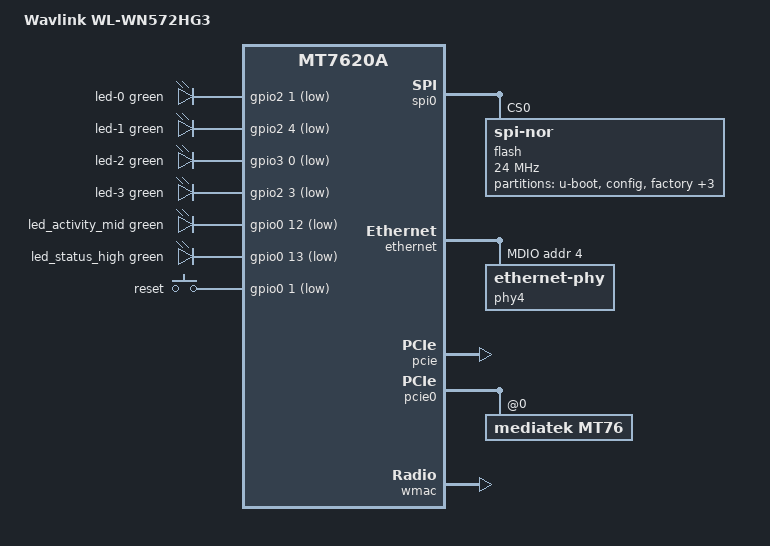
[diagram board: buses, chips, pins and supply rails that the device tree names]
// SPDX-License-Identifier: GPL-2.0-or-later

#include "mt7620a.dtsi"

#include <dt-bindings/gpio/gpio.h>
#include <dt-bindings/input/input.h>
#include <dt-bindings/leds/common.h>

/ {
	compatible = "wavlink,wl-wn572hg3", "ralink,mt7620a-soc";
	model = "Wavlink WL-WN572HG3";

	aliases {
		led-boot = &led_status_high;
		led-failsafe = &led_status_high;
		led-running = &led_activity_mid;
		led-upgrade = &led_activity_mid;
	};

	leds {
		compatible = "gpio-leds";

		led-0 {
			function = LED_FUNCTION_LAN;
			color = <LED_COLOR_ID_GREEN>;
			gpios = <&gpio2 1 GPIO_ACTIVE_LOW>;
		};

		led-1 {
			function = LED_FUNCTION_WAN;
			color = <LED_COLOR_ID_GREEN>;
			gpios = <&gpio2 4 GPIO_ACTIVE_LOW>;
		};

		led-2 {
			function = LED_FUNCTION_WLAN;
			color = <LED_COLOR_ID_GREEN>;
			gpios = <&gpio3 0 GPIO_ACTIVE_LOW>;
			linux,default-trigger = "phy1tpt";
		};

		led-3 {
			function = LED_FUNCTION_WLAN_5GHZ;
			color = <LED_COLOR_ID_GREEN>;
			gpios = <&gpio2 3 GPIO_ACTIVE_LOW>;
			linux,default-trigger = "phy0tpt";
		};

		led_activity_mid: led-4 {
			function = LED_FUNCTION_ACTIVITY;
			color = <LED_COLOR_ID_GREEN>;
			gpios = <&gpio0 12 GPIO_ACTIVE_LOW>;
		};

		led_status_high: led-5 {
			function = LED_FUNCTION_STATUS;
			color = <LED_COLOR_ID_GREEN>;
			gpios = <&gpio0 13 GPIO_ACTIVE_LOW>;
		};
	};

	keys {
		compatible = "gpio-keys";

		reset {
			label = "reset";
			gpios = <&gpio0 1 GPIO_ACTIVE_LOW>;
			linux,code = <KEY_RESTART>;
		};
	};
};

&gpio2 {
	status = "okay";
};

&gpio3 {
	status = "okay";
};

&spi0 {
	status = "okay";

	flash@0 {
		compatible = "jedec,spi-nor";
		reg = <0>;
		spi-max-frequency = <24000000>;

		partitions {
			compatible = "fixed-partitions";
			#address-cells = <1>;
			#size-cells = <1>;

			partition@0 {
				label = "u-boot";
				reg = <0x0 0x30000>;
				read-only;
			};

			partition@30000 {
				label = "config";
				reg = <0x30000 0x10000>;
				read-only;
			};

			factory: partition@40000 {
				label = "factory";
				reg = <0x40000 0x10000>;
				read-only;

				nvmem-layout {
					compatible = "fixed-layout";
					#address-cells = <1>;
					#size-cells = <1>;

					eeprom_factory_0: eeprom@0 {
						reg = <0x0 0x200>;
					};

					eeprom_factory_8000: eeprom@8000 {
						reg = <0x8000 0x200>;
					};

					macaddr_factory_28: macaddr@28 {
						compatible = "mac-base";
						reg = <0x28 0x6>;
						#nvmem-cell-cells = <1>;
					};
				};
			};

			partition@50000 {
				compatible = "denx,uimage";
				label = "firmware";
				reg = <0x50000 0x790000>;
			};

			partition@7e0000 {
				label = "board_data";
				reg = <0x7e0000 0x10000>;
				read-only;
			};

			partition@7f0000 {
				label = "nvram";
				reg = <0x7f0000 0x10000>;
				read-only;
			};
		};
	};
};

&state_default {
	gpio {
		groups = "i2c", "uartf", "ephy", "wled";
		function = "gpio";
	};
};

&ethernet {
	pinctrl-names = "default";
	pinctrl-0 = <&rgmii1_pins &rgmii2_pins &mdio_pins>;

	nvmem-cells = <&macaddr_factory_28 0>;
	nvmem-cell-names = "mac-address";

	mediatek,portmap = "llllw";

	port@4 {
		status = "okay";
		phy-handle = <&phy4>;
		phy-mode = "rgmii";
		mediatek,fixed-link = <1000 1 1 1>;
	};


	mdio-bus {
		status = "okay";
		
		phy4: ethernet-phy@4 {
			reg = <4>;
			phy-mode = "rgmii";
		};

	};
};

&gsw {
	mediatek,port4-gmac;
	mediatek,ephy-base = /bits/ 8 <8>;
};

&pcie {
	status = "okay";
};

&pcie0 {
	mt76@0,0 {
		compatible = "mediatek,mt76";
		reg = <0x0000 0 0 0 0>;
		ieee80211-freq-limit = <5000000 6000000>;

		nvmem-cells = <&eeprom_factory_8000>;
		nvmem-cell-names = "eeprom";
	};
};

&wmac {
	pinctrl-names = "default", "pa_gpio";
	pinctrl-0 = <&pa_pins>;
	pinctrl-1 = <&pa_gpio_pins>;

	nvmem-cells = <&eeprom_factory_0>;
	nvmem-cell-names = "eeprom";
};
